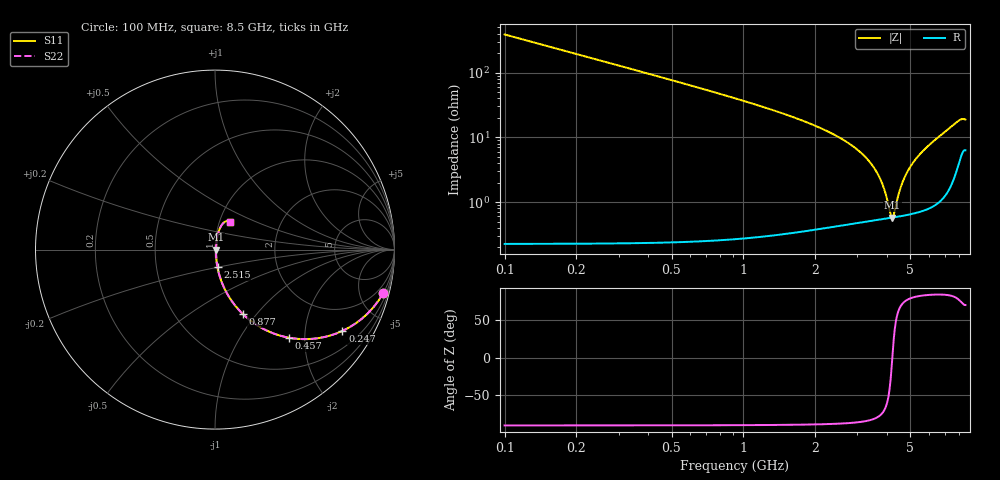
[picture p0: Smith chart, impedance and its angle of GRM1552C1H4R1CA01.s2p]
!Murata Part Number: GRM1552C1H4R1CA01
!These Parameters are Measured in Series Mode Connection
!Data Generated on Mar 30, 2021
!  o--ll--o
!Port1  Port2
!  o------o
!Operation Temp=25[degC], DC Bias Voltage=0[V]
!Freq. Start=100[MHz] Stop=9[GHz] 401[Steps]
# Hz S RI R 50
!Freq.(Hz) S11(Real) S11(Imag) S21(Real) S21(Imag) S12(Real) S12(Imag) S22(Real) S22(Imag)
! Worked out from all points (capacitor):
!   401 points, 100 MHz to 8.5 GHz, reference 50 ohm
!   read as one part in series: C = 4.1 pF near 142 MHz
!   lowest |Z| = 574 mohm at 4.195 GHz (marker M1)
!   series resonance near 4.201 GHz, so ESL is about 350 pH
!   S11 on the Smith chart (normalised r, x): 100 MHz: 1.00, -7.76; 247 MHz: 1.00, -3.13; 457 MHz: 1.00, -1.68; 877 MHz: 1.01, -0.85; 2.515 GHz: 1.01, -0.20; 8.5 GHz: 1.13, +0.35
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1e8  0.9376 -0.2416  0.0624 0.2416  0.0624 0.2416  0.9376 -0.2416
2.47e8  0.7101 -0.453  0.2899 0.453  0.2899 0.453  0.7101 -0.453
3.31e8  0.5758 -0.4932  0.4242 0.4932  0.4242 0.4932  0.5758 -0.4932
4.57e8  0.4136 -0.4911  0.5864 0.4911  0.5864 0.4911  0.4136 -0.4911
6.46e8  0.257 -0.4349  0.743 0.4349  0.743 0.4349  0.257 -0.4349
8.77e8  0.1536 -0.3574  0.8464 0.3574  0.8464 0.3574  0.1536 -0.3574
1.507e9  0.0508 -0.2126  0.9492 0.2126  0.9492 0.2126  0.0508 -0.2126
2.515e9  0.014 -0.098  0.986 0.098  0.986 0.098  0.014 -0.098
2.914e9  0.00943 -0.069  0.9906 0.069  0.9906 0.069  0.00943 -0.069
3.355e9  0.00681 -0.0422  0.9932 0.0422  0.9932 0.0422  0.00681 -0.0422
3.67e9  0.00593 -0.0254  0.9941 0.0254  0.9941 0.0254  0.00593 -0.0254
3.88e9  0.00567 -0.015  0.9943 0.015  0.9943 0.015  0.00567 -0.015
4.132e9  0.00566 -0.00313  0.9943 0.00313  0.9943 0.00313  0.00566 -0.00313
4.195e9  0.0057 -0.000259  0.9943 0.000259  0.9943 0.000259  0.0057 -0.000259
4.3e9  0.00581 0.00445  0.9942 -0.00445  0.9942 -0.00445  0.00581 0.00445
4.531e9  0.0062 0.0145  0.9938 -0.0145  0.9938 -0.0145  0.0062 0.0145
4.804e9  0.00692 0.026  0.9931 -0.026  0.9931 -0.026  0.00692 0.026
5.182e9  0.00837 0.0415  0.9916 -0.0415  0.9916 -0.0415  0.00837 0.0415
5.707e9  0.0113 0.0626  0.9887 -0.0626  0.9887 -0.0626  0.0113 0.0626
7.114e9  0.029 0.1226  0.971 -0.1226  0.971 -0.1226  0.029 0.1226
7.996e9  0.0661 0.1599  0.9339 -0.1599  0.9339 -0.1599  0.0661 0.1599
8.5e9  0.0847 0.1526  0.9153 -0.1526  0.9153 -0.1526  0.0847 0.1526
